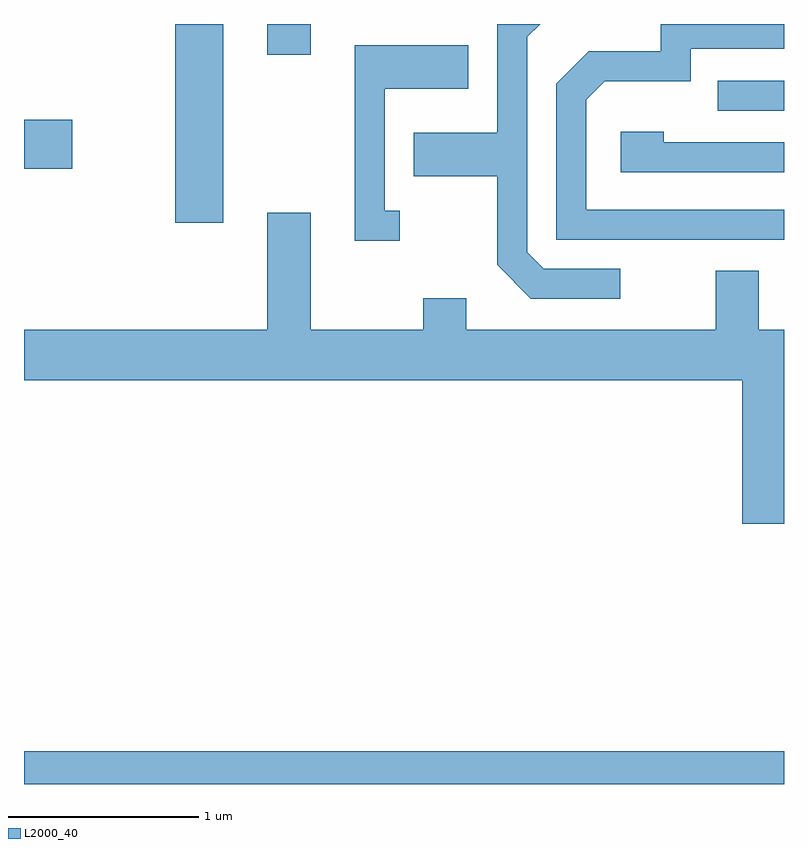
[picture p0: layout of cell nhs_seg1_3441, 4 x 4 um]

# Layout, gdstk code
import gdstk
lib = gdstk.Library(unit=1e-6, precision=1e-09)
def R(c, l, rs):  # rectangles x0, y0, x1, y1
    for r in rs: c.add(gdstk.rectangle(r[:2], r[2:], *l))
def P(c, l, *ps):  # polygons
    for p in ps: c.add(gdstk.Polygon(p, *l))
L2000_40 = (2000, 40)

nhs_seg1_3441 = lib.new_cell('nhs_seg1_3441')
R(nhs_seg1_3441, L2000_40, [(289.611,859.712,293.611,859.884), (290.406,862.666,290.659,863.712), (289.611,862.951,289.864,863.209), (293.263,863.256,293.611,863.414), (290.891,863.551,291.119,863.712)])
P(nhs_seg1_3441, L2000_40, [(293.611,862.734),(292.569,862.734),(292.569,863.314),(292.667,863.411),(293.119,863.411),(293.119,863.581),(293.611,863.581),(293.611,863.712),(292.961,863.712),(292.961,863.569),(292.584,863.569),(292.411,863.397),(292.411,862.576),(293.611,862.576)],
  [(292.748,862.424),(292.347,862.424),(292.259,862.512),(292.259,863.644),(292.328,863.712),(292.101,863.712),(292.101,863.139),(291.661,863.139),(291.661,862.911),(292.101,862.911),(292.101,862.444),(292.279,862.266),(292.748,862.266)],
  [(291.588,862.729),(291.509,862.729),(291.509,863.371),(291.949,863.371),(291.949,863.599),(291.351,863.599),(291.351,862.571),(291.588,862.571)],
  [(293.611,863.089),(292.979,863.089),(292.979,863.144),(292.751,863.144),(292.751,862.931),(293.611,862.931)],
  [(293.611,862.104),(293.479,862.104),(293.479,862.414),(293.251,862.414),(293.251,862.104),(291.939,862.104),(291.939,862.269),(291.711,862.269),(291.711,862.104),(291.119,862.104),(291.119,862.719),(290.891,862.719),(290.891,862.104),(289.611,862.104),(289.611,861.836),(293.391,861.836),(293.391,861.081),(293.611,861.081)])

lib.write_gds('nhs_seg1_3441.gds')
